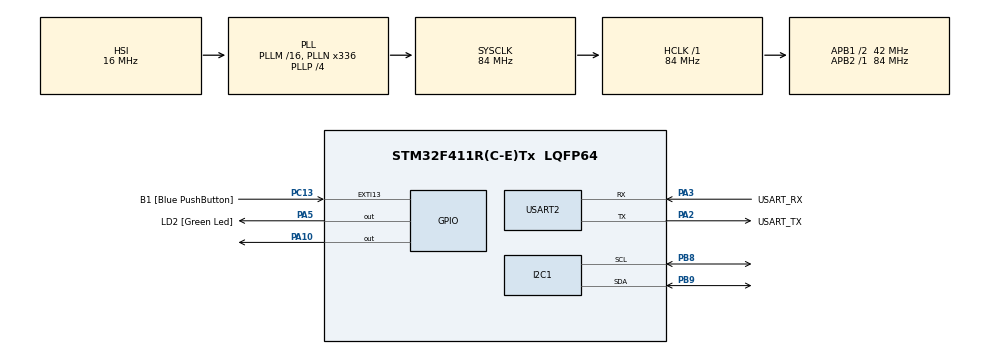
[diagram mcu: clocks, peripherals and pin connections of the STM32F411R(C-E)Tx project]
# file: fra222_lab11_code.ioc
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Mcu.Family=STM32F4
PC15-OSC32_OUT.Mode=LSE-External-Oscillator
RCC.CortexFreq_Value=84000000
NVIC.I2C1_EV_IRQn=true\:0\:0\:false\:false\:true\:true\:true
PC13-ANTI_TAMP.GPIO_Label=B1 [Blue PushButton]
PA14.GPIO_Label=TCK
PH1\ -\ OSC_OUT.Mode=HSE-External-Clock-Source
RCC.APB1CLKDivider=RCC_HCLK_DIV2
PC14-OSC32_IN.Signal=RCC_OSC32_IN
RCC.SYSCLKSource=RCC_SYSCLKSOURCE_PLLCLK
ProjectManager.StackSize=0x400
PA13.Signal=SYS_JTMS-SWDIO
PA3.Mode=Asynchronous
PH0\ -\ OSC_IN.Mode=HSE-External-Clock-Source
PH0\ -\ OSC_IN.Signal=RCC_OSC_IN
ProjectManager.TargetToolchain=STM32CubeIDE
I2C1.I2C_Mode=I2C_Fast
RCC.HCLKFreq_Value=84000000
PB9.Mode=I2C
RCC.APB2TimFreq_Value=84000000
I2C1.AddressingMode=I2C_ADDRESSINGMODE_7BIT
PC15-OSC32_OUT.Signal=RCC_OSC32_OUT
RCC.AHBFreq_Value=84000000
PA5.Signal=GPIO_Output
RCC.HSE_VALUE=8000000
PH1\ -\ OSC_OUT.Signal=RCC_OSC_OUT
board=NUCLEO-F411RE
PC13-ANTI_TAMP.Signal=GPXTI13
RCC.VCOOutputFreq_Value=336000000
RCC.APB2Freq_Value=84000000
PC14-OSC32_IN.Mode=LSE-External-Oscillator
PA14.Mode=Serial_Wire
PA13.Mode=Serial_Wire
NVIC.I2C1_ER_IRQn=true\:0\:0\:false\:false\:true\:true\:true
Mcu.Name=STM32F411R(C-E)Tx
PA2.Signal=USART2_TX
PA13.GPIO_Label=TMS
RCC.FLatency-AdvancedSettings=FLASH_LATENCY_2
RCC.48MHZClocksFreq_Value=84000000
PB3.Signal=SYS_JTDO-SWO
RCC.SYSCLKFreq_VALUE=84000000
Mcu.Package=LQFP64
PB9.Signal=I2C1_SDA
PA5.GPIO_Label=LD2 [Green Led]
USART2.VirtualMode=VM_ASYNC
PC13-ANTI_TAMP.GPIO_ModeDefaultEXTI=GPIO_MODE_IT_FALLING
PA2.GPIO_Label=USART_TX
PA10.Signal=GPIO_Output
PA14.Signal=SYS_JTCK-SWCLK
ProjectManager.HeapSize=0x200
RCC.HSI_VALUE=16000000
RCC.PLLP=RCC_PLLP_DIV4
NVIC.PriorityGroup=NVIC_PRIORITYGROUP_0
PB8.Mode=I2C
RCC.PLLN=336
RCC.APB1TimFreq_Value=84000000
PA2.Mode=Asynchronous
PB8.Signal=I2C1_SCL
RCC.APB1Freq_Value=42000000
PA3.GPIO_Label=USART_RX
PA3.Signal=USART2_RX
PB3.GPIO_Label=SWO

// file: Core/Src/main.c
/* USER CODE BEGIN Header */
/**
 ******************************************************************************
 * @file           : main.c
 * @brief          : Main program body
 ******************************************************************************
 * @attention
 *
 * <h2><center>&copy; Copyright (c) 2021 STMicroelectronics.
 * All rights reserved.</center></h2>
 *
 * This software component is licensed by ST under BSD 3-Clause license,
 * the "License"; You may not use this file except in compliance with the
 * License. You may obtain a copy of the License at:
 *                        opensource.org/licenses/BSD-3-Clause
 *
 ******************************************************************************
 */
/* USER CODE END Header */
#include "main.h"

/* USER CODE BEGIN PD */
#define EEPROM_MEM_ADDR	0x02
#define EEPROM_ADDR 	0b10100000
#define IOEXPD_ADDR 	0b01000000

#define SENDING_DELAY	10 //mS
/* USER CODE END PD */

I2C_HandleTypeDef hi2c1;

UART_HandleTypeDef huart2;

/* USER CODE BEGIN PV */

uint8_t eepromExampleWriteFlag = 0;
uint8_t eepromExampleReadFlag = 0;
uint8_t IOExpdrExampleWriteFlag = 0;
uint8_t IOExpdrExampleReadFlag = 0;

uint8_t eepromDataReadBack[1] = { 0 };
uint8_t IOExpdrDataReadBack = 0;

uint8_t ButtonState[2] = { 0 };

uint8_t Count = 0;

/* USER CODE END PV */

void SystemClock_Config(void);
static void MX_GPIO_Init(void);
static void MX_USART2_UART_Init(void);
static void MX_I2C1_Init(void);
/* USER CODE BEGIN PFP */

void EEPROMWrite(uint8_t Wdata);
void EEPROMRead(uint8_t *Rdata, uint16_t len);

void IOExpenderInit();
void IOExpenderReadPinA(uint8_t *Rdata);
void IOExpenderWritePinB(uint8_t Wdata);

/* USER CODE END PFP */

int main(void)
{

  /* MCU Configuration--------------------------------------------------------*/

  /* Reset of all peripherals, Initializes the Flash interface and the Systick. */
  HAL_Init();

  /* Configure the system clock */
  SystemClock_Config();

  /* Initialize all configured peripherals */
  MX_GPIO_Init();
  MX_USART2_UART_Init();
  MX_I2C1_Init();
  /* USER CODE BEGIN 2 */

  HAL_Delay(100);
  IOExpenderInit();

  //Save values from last time
  EEPROMRead(eepromDataReadBack, 1);
  HAL_Delay(SENDING_DELAY);

  IOExpenderWritePinB(eepromDataReadBack[0]);

  /* USER CODE END 2 */

  /* Infinite loop */
  /* USER CODE BEGIN WHILE */
	while (1) {
		//Read User Button (B1)
//		HAL_GPIO_WritePin(GPIOA, GPIO_PIN_10, HAL_GPIO_ReadPin(GPIOC, GPIO_PIN_13));
		ButtonState[0] = HAL_GPIO_ReadPin(GPIOC, GPIO_PIN_13);

		if (ButtonState[0]==GPIO_PIN_RESET && ButtonState[1]==GPIO_PIN_SET)
		{
			IOExpenderReadPinA(&IOExpdrDataReadBack);
			//Wait for IC Reading and Debouncing
			HAL_Delay(SENDING_DELAY);

			EEPROMWrite(IOExpdrDataReadBack);
			HAL_Delay(SENDING_DELAY);

			EEPROMRead(eepromDataReadBack, 1);
			HAL_Delay(SENDING_DELAY);

			IOExpenderWritePinB(eepromDataReadBack[0]);

			//test
			Count++;
		}
		ButtonState[1] = ButtonState[0];

    /* USER CODE END WHILE */

	}
}

void SystemClock_Config(void)
{
  RCC_OscInitTypeDef RCC_OscInitStruct = {0};
  RCC_ClkInitTypeDef RCC_ClkInitStruct = {0};

  /** Configure the main internal regulator output voltage
  */
  __HAL_RCC_PWR_CLK_ENABLE();
  __HAL_PWR_VOLTAGESCALING_CONFIG(PWR_REGULATOR_VOLTAGE_SCALE1);
  /** Initializes the RCC Oscillators according to the specified parameters
  * in the RCC_OscInitTypeDef structure.
  */
  RCC_OscInitStruct.OscillatorType = RCC_OSCILLATORTYPE_HSI;
  RCC_OscInitStruct.HSIState = RCC_HSI_ON;
  RCC_OscInitStruct.HSICalibrationValue = RCC_HSICALIBRATION_DEFAULT;
  RCC_OscInitStruct.PLL.PLLState = RCC_PLL_ON;
  RCC_OscInitStruct.PLL.PLLSource = RCC_PLLSOURCE_HSI;
  RCC_OscInitStruct.PLL.PLLM = 16;
  RCC_OscInitStruct.PLL.PLLN = 336;
  RCC_OscInitStruct.PLL.PLLP = RCC_PLLP_DIV4;
  RCC_OscInitStruct.PLL.PLLQ = 4;
  if (HAL_RCC_OscConfig(&RCC_OscInitStruct) != HAL_OK)
  {
    Error_Handler();
  }
  /** Initializes the CPU, AHB and APB buses clocks
  */
  RCC_ClkInitStruct.ClockType = RCC_CLOCKTYPE_HCLK|RCC_CLOCKTYPE_SYSCLK
                              |RCC_CLOCKTYPE_PCLK1|RCC_CLOCKTYPE_PCLK2;
  RCC_ClkInitStruct.SYSCLKSource = RCC_SYSCLKSOURCE_PLLCLK;
  RCC_ClkInitStruct.AHBCLKDivider = RCC_SYSCLK_DIV1;
  RCC_ClkInitStruct.APB1CLKDivider = RCC_HCLK_DIV2;
  RCC_ClkInitStruct.APB2CLKDivider = RCC_HCLK_DIV1;

  if (HAL_RCC_ClockConfig(&RCC_ClkInitStruct, FLASH_LATENCY_2) != HAL_OK)
  {
    Error_Handler();
  }
}

static void MX_I2C1_Init(void)
{

  hi2c1.Instance = I2C1;
  hi2c1.Init.ClockSpeed = 400000;
  hi2c1.Init.DutyCycle = I2C_DUTYCYCLE_2;
  hi2c1.Init.OwnAddress1 = 0;
  hi2c1.Init.AddressingMode = I2C_ADDRESSINGMODE_7BIT;
  hi2c1.Init.DualAddressMode = I2C_DUALADDRESS_DISABLE;
  hi2c1.Init.OwnAddress2 = 0;
  hi2c1.Init.GeneralCallMode = I2C_GENERALCALL_DISABLE;
  hi2c1.Init.NoStretchMode = I2C_NOSTRETCH_DISABLE;
  if (HAL_I2C_Init(&hi2c1) != HAL_OK)
  {
    Error_Handler();
  }

}

static void MX_USART2_UART_Init(void)
{

  huart2.Instance = USART2;
  huart2.Init.BaudRate = 115200;
  huart2.Init.WordLength = UART_WORDLENGTH_8B;
  huart2.Init.StopBits = UART_STOPBITS_1;
  huart2.Init.Parity = UART_PARITY_NONE;
  huart2.Init.Mode = UART_MODE_TX_RX;
  huart2.Init.HwFlowCtl = UART_HWCONTROL_NONE;
  huart2.Init.OverSampling = UART_OVERSAMPLING_16;
  if (HAL_UART_Init(&huart2) != HAL_OK)
  {
    Error_Handler();
  }

}

static void MX_GPIO_Init(void)
{
  GPIO_InitTypeDef GPIO_InitStruct = {0};

  /* GPIO Ports Clock Enable */
  __HAL_RCC_GPIOC_CLK_ENABLE();
  __HAL_RCC_GPIOH_CLK_ENABLE();
  __HAL_RCC_GPIOA_CLK_ENABLE();
  __HAL_RCC_GPIOB_CLK_ENABLE();

  /*Configure GPIO pin Output Level */
  HAL_GPIO_WritePin(GPIOA, LD2_Pin|GPIO_PIN_10, GPIO_PIN_RESET);

  /*Configure GPIO pin : B1_Pin */
  GPIO_InitStruct.Pin = B1_Pin;
  GPIO_InitStruct.Mode = GPIO_MODE_IT_FALLING;
  GPIO_InitStruct.Pull = GPIO_NOPULL;
  HAL_GPIO_Init(B1_GPIO_Port, &GPIO_InitStruct);

  /*Configure GPIO pins : LD2_Pin PA10 */
  GPIO_InitStruct.Pin = LD2_Pin|GPIO_PIN_10;
  GPIO_InitStruct.Mode = GPIO_MODE_OUTPUT_PP;
  GPIO_InitStruct.Pull = GPIO_NOPULL;
  GPIO_InitStruct.Speed = GPIO_SPEED_FREQ_LOW;
  HAL_GPIO_Init(GPIOA, &GPIO_InitStruct);

}

/* USER CODE BEGIN 4 */
void EEPROMWrite(uint8_t Wdata) {
	if (hi2c1.State == HAL_I2C_STATE_READY) {

		static uint8_t data[1];
		data[0] = Wdata;
		HAL_I2C_Mem_Write_IT(&hi2c1, EEPROM_ADDR, EEPROM_MEM_ADDR, I2C_MEMADD_SIZE_16BIT,
				data, 1);
		eepromExampleWriteFlag = 0;
	}
}
void EEPROMRead(uint8_t *Rdata, uint16_t len) {
	if (hi2c1.State == HAL_I2C_STATE_READY) {

		HAL_I2C_Mem_Read_IT(&hi2c1, EEPROM_ADDR, EEPROM_MEM_ADDR, I2C_MEMADD_SIZE_16BIT,
				Rdata, len);
		eepromExampleReadFlag = 0;
	}
}
void IOExpenderInit() {
	//Init All
	static uint8_t Setting[0x16] = { 0xFF, 0x00, 0x00, 0x00, 0x00, 0x00, 0x00,
			0x00, 0x00, 0x00, 0x00, 0x00, 0xFF, 0x00, 0x00, 0x00, 0x00, 0x00,
			0x00, 0x00, 0x00, 0x00 };
	HAL_I2C_Mem_Write(&hi2c1, IOEXPD_ADDR, 0x00, I2C_MEMADD_SIZE_8BIT, Setting,
			0x16, 100);
}
void IOExpenderReadPinA(uint8_t *Rdata) {
	if (hi2c1.State == HAL_I2C_STATE_READY) {
		HAL_I2C_Mem_Read_IT(&hi2c1, IOEXPD_ADDR, 0x12, I2C_MEMADD_SIZE_8BIT,
				Rdata, 1);
		IOExpdrExampleReadFlag = 0;
	}
}
void IOExpenderWritePinB(uint8_t Wdata) {
	if (hi2c1.State == HAL_I2C_STATE_READY) {
		static uint8_t data;
		data = Wdata;
		HAL_I2C_Mem_Write_IT(&hi2c1, IOEXPD_ADDR, 0x15, I2C_MEMADD_SIZE_8BIT,
				&data, 1);
		IOExpdrExampleWriteFlag = 0;
	}
}
/* USER CODE END 4 */

void Error_Handler(void)
{
	__disable_irq();
	while (1) {
	}
}

/************************ (C) COPYRIGHT STMicroelectronics *****END OF FILE****/
